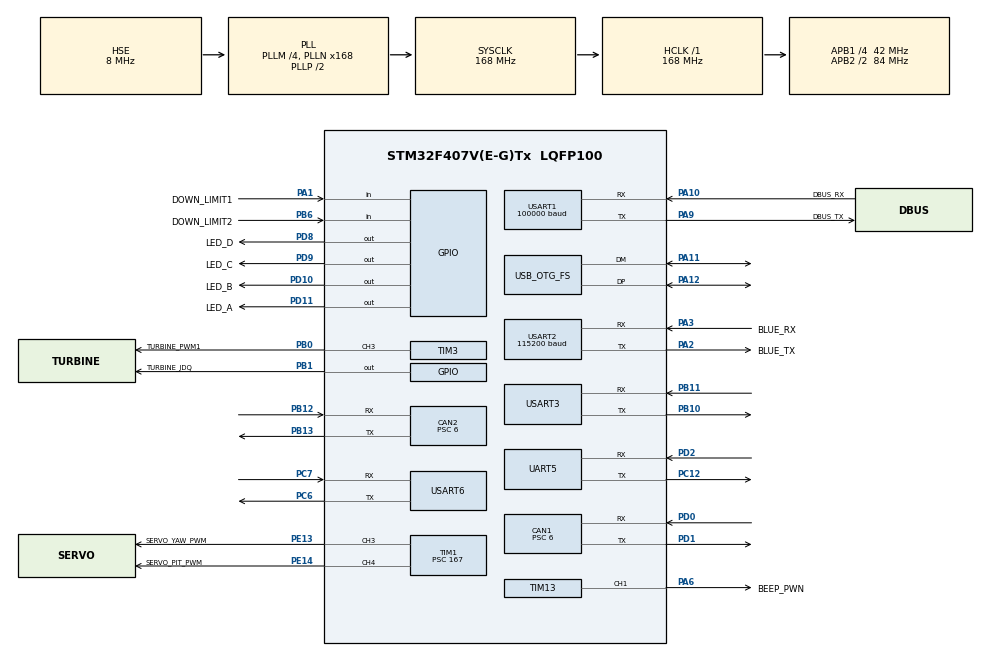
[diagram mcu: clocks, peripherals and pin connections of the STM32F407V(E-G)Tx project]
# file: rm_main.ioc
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CAN1.ABOM=ENABLE
CAN1.BS1=CAN_BS1_3TQ
CAN1.BS2=CAN_BS2_3TQ
CAN1.CalculateTimeQuantum=142.85714285714286
CAN1.Prescaler=6
CAN1.SJW=CAN_SJW_1TQ
CAN2.ABOM=ENABLE
CAN2.BS1=CAN_BS1_3TQ
CAN2.BS2=CAN_BS2_3TQ
CAN2.CalculateTimeQuantum=142.85714285714286
CAN2.Prescaler=6
Dma.Request0=USART1_RX
Dma.Request1=USART6_RX
Dma.Request2=USART2_RX
Dma.USART1_RX.0.Direction=DMA_PERIPH_TO_MEMORY
Dma.USART1_RX.0.FIFOMode=DMA_FIFOMODE_DISABLE
Dma.USART1_RX.0.Instance=DMA2_Stream2
Dma.USART1_RX.0.MemDataAlignment=DMA_MDATAALIGN_BYTE
Dma.USART1_RX.0.MemInc=DMA_MINC_ENABLE
Dma.USART1_RX.0.Mode=DMA_NORMAL
Dma.USART1_RX.0.PeriphDataAlignment=DMA_PDATAALIGN_BYTE
Dma.USART1_RX.0.PeriphInc=DMA_PINC_DISABLE
Dma.USART1_RX.0.Priority=DMA_PRIORITY_LOW
Dma.USART2_RX.2.Direction=DMA_PERIPH_TO_MEMORY
Dma.USART2_RX.2.FIFOMode=DMA_FIFOMODE_DISABLE
Dma.USART2_RX.2.Instance=DMA1_Stream5
Dma.USART2_RX.2.MemDataAlignment=DMA_MDATAALIGN_BYTE
Dma.USART2_RX.2.MemInc=DMA_MINC_ENABLE
Dma.USART2_RX.2.Mode=DMA_NORMAL
Dma.USART2_RX.2.PeriphDataAlignment=DMA_PDATAALIGN_BYTE
Dma.USART2_RX.2.PeriphInc=DMA_PINC_DISABLE
Dma.USART2_RX.2.Priority=DMA_PRIORITY_LOW
Dma.USART6_RX.1.Direction=DMA_PERIPH_TO_MEMORY
Dma.USART6_RX.1.FIFOMode=DMA_FIFOMODE_DISABLE
Dma.USART6_RX.1.Instance=DMA2_Stream1
Dma.USART6_RX.1.MemDataAlignment=DMA_MDATAALIGN_BYTE
Dma.USART6_RX.1.MemInc=DMA_MINC_ENABLE
Dma.USART6_RX.1.Mode=DMA_NORMAL
Dma.USART6_RX.1.PeriphDataAlignment=DMA_PDATAALIGN_BYTE
Dma.USART6_RX.1.PeriphInc=DMA_PINC_DISABLE
Dma.USART6_RX.1.Priority=DMA_PRIORITY_LOW
FREERTOS.INCLUDE_vTaskDelayUntil=1
FREERTOS.Tasks01=defaultTask,0,128,StartDefaultTask,Default,NULL
FREERTOS.configUSE_TIMERS=1
Mcu.Family=STM32F4
Mcu.Name=STM32F407V(E-G)Tx
Mcu.Package=LQFP100
NVIC.CAN1_RX0_IRQn=true\:5\:0\:false\:false\:true\:true\:true
NVIC.CAN1_TX_IRQn=true\:5\:0\:false\:false\:true\:true\:true
NVIC.CAN2_RX0_IRQn=true\:5\:0\:false\:false\:true\:true\:true
NVIC.CAN2_TX_IRQn=true\:5\:0\:false\:false\:true\:true\:true
NVIC.DMA1_Stream5_IRQn=true\:5\:0\:false\:false\:true\:true\:false
NVIC.DMA2_Stream1_IRQn=true\:5\:0\:false\:false\:true\:true\:false
NVIC.DMA2_Stream2_IRQn=true\:5\:0\:false\:false\:true\:true\:false
NVIC.OTG_FS_IRQn=true\:5\:0\:false\:false\:true\:true\:false
NVIC.PriorityGroup=NVIC_PRIORITYGROUP_4
NVIC.TIM1_UP_TIM10_IRQn=true\:0\:0\:false\:false\:true\:false\:false
NVIC.TimeBase=TIM1_UP_TIM10_IRQn
NVIC.TimeBaseIP=TIM10
NVIC.UART5_IRQn=true\:5\:0\:false\:false\:true\:true\:true
NVIC.USART1_IRQn=true\:5\:0\:false\:false\:true\:true\:true
NVIC.USART2_IRQn=true\:5\:0\:false\:false\:true\:true\:true
NVIC.USART6_IRQn=true\:5\:0\:false\:false\:true\:true\:true
PA1.GPIO_Label=DOWN_LIMIT1
PA1.Signal=GPIO_Input
PA10.GPIO_Label=DBUS_RX
PA10.Mode=Asynchronous
PA10.Signal=USART1_RX
PA11.Mode=Device_Only
PA11.Signal=USB_OTG_FS_DM
PA12.Mode=Device_Only
PA12.Signal=USB_OTG_FS_DP
PA13.Mode=Serial_Wire
PA13.Signal=SYS_JTMS-SWDIO
PA14.Mode=Serial_Wire
PA14.Signal=SYS_JTCK-SWCLK
PA2.GPIO_Label=BLUE_TX
PA2.Mode=Asynchronous
PA2.Signal=USART2_TX
PA3.GPIO_Label=BLUE_RX
PA3.Mode=Asynchronous
PA3.Signal=USART2_RX
PA6.GPIO_Label=BEEP_PWN
PA6.Signal=S_TIM13_CH1
PA9.GPIO_Label=DBUS_TX
PA9.Mode=Asynchronous
PA9.Signal=USART1_TX
PB0.GPIO_Label=TURBINE_PWM1
PB0.Signal=S_TIM3_CH3
PB1.GPIO_Label=TURBINE_JDQ
PB1.Signal=GPIO_Output
PB10.Mode=Asynchronous
PB10.Signal=USART3_TX
PB11.Mode=Asynchronous
PB11.Signal=USART3_RX
PB12.Mode=Slave
PB12.Signal=CAN2_RX
PB13.Mode=Slave
PB13.Signal=CAN2_TX
PB6.GPIO_Label=DOWN_LIMIT2
PB6.Signal=GPIO_Input
PC12.Mode=Asynchronous
PC12.Signal=UART5_TX
PC6.Mode=Asynchronous
PC6.Signal=USART6_TX
PC7.Mode=Asynchronous
PC7.Signal=USART6_RX
PD0.Mode=Master
PD0.Signal=CAN1_RX
PD1.Mode=Master
PD1.Signal=CAN1_TX
PD10.GPIO_Label=LED_B
PD10.PinState=GPIO_PIN_SET
PD10.Signal=GPIO_Output
PD11.GPIO_Label=LED_A
PD11.GPIO_Speed=GPIO_SPEED_FREQ_LOW
PD11.PinState=GPIO_PIN_SET
PD11.Signal=GPIO_Output
PD2.Mode=Asynchronous
PD2.Signal=UART5_RX
PD8.GPIO_Label=LED_D
PD8.PinState=GPIO_PIN_SET
PD8.Signal=GPIO_Output
PD9.GPIO_Label=LED_C
PD9.PinState=GPIO_PIN_SET
PD9.Signal=GPIO_Output
PE13.GPIO_Label=SERVO_YAW_PWM
PE13.Signal=S_TIM1_CH3
PE14.GPIO_Label=SERVO_PIT_PWM
PE14.Signal=S_TIM1_CH4
PH0-OSC_IN.Mode=HSE-External-Oscillator
PH0-OSC_IN.Signal=RCC_OSC_IN
PH1-OSC_OUT.Mode=HSE-External-Oscillator
PH1-OSC_OUT.Signal=RCC_OSC_OUT
ProjectManager.HeapSize=0x1000
ProjectManager.StackSize=0x600
ProjectManager.TargetToolchain=MDK-ARM V5
RCC.48MHZClocksFreq_Value=48000000
RCC.AHBFreq_Value=168000000
RCC.APB1CLKDivider=RCC_HCLK_DIV4
RCC.APB1Freq_Value=42000000
RCC.APB1TimFreq_Value=84000000
RCC.APB2CLKDivider=RCC_HCLK_DIV2
RCC.APB2Freq_Value=84000000
RCC.APB2TimFreq_Value=168000000
RCC.CortexFreq_Value=168000000
RCC.HCLKFreq_Value=168000000
RCC.HSE_VALUE=8000000
RCC.HSI_VALUE=16000000
RCC.LSE_VALUE=32768
RCC.PLLM=4
RCC.PLLN=168
RCC.PLLQ=7
RCC.SYSCLKFreq_VALUE=168000000
RCC.SYSCLKSource=RCC_SYSCLKSOURCE_PLLCLK
RCC.VCOOutputFreq_Value=336000000
SH.S_TIM13_CH1.0=TIM13_CH1,PWM Generation1 CH1
SH.S_TIM1_CH3.0=TIM1_CH3,PWM Generation3 CH3
SH.S_TIM1_CH4.0=TIM1_CH4,PWM Generation4 CH4
SH.S_TIM3_CH3.0=TIM3_CH3,PWM Generation3 CH3
TIM1.Channel-PWM\ Generation3\ CH3=TIM_CHANNEL_3
TIM1.Channel-PWM\ Generation4\ CH4=TIM_CHANNEL_4
TIM1.Period=19999
TIM1.Prescaler=167
TIM13.Channel=TIM_CHANNEL_1
TIM13.Period=83
TIM13.Prescaler=1999
TIM3.Channel-PWM\ Generation3\ CH3=TIM_CHANNEL_3
TIM3.Period=19999
TIM3.Prescaler=83
UART5.VirtualMode=Asynchronous
USART1.BaudRate=100000
USART1.VirtualMode=VM_ASYNC
USART2.BaudRate=115200
USART2.VirtualMode=VM_ASYNC
USART3.VirtualMode=VM_ASYNC
USART6.VirtualMode=VM_ASYNC
USB_DEVICE.APP_RX_DATA_SIZE-CDC_FS=18
USB_DEVICE.APP_TX_DATA_SIZE-CDC_FS=18
USB_DEVICE.CLASS_NAME_FS=CDC
USB_DEVICE.VirtualMode-CDC_FS=Cdc
USB_DEVICE.VirtualModeFS=Cdc_FS
USB_OTG_FS.VirtualMode=Device_Only
VP_FREERTOS_VS_ENABLE.Mode=Enabled
VP_SYS_VS_tim10.Mode=TIM10
VP_TIM13_VS_ClockSourceINT.Mode=Enable_Timer
VP_USB_DEVICE_VS_USB_DEVICE_CDC_FS.Mode=CDC_FS
board=custom

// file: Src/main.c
/**
  ******************************************************************************
  * @file           : main.c
  * @brief          : Main program body
  ******************************************************************************
  * This notice applies to any and all portions of this file
  * that are not between comment pairs USER CODE BEGIN and
  * USER CODE END. Other portions of this file, whether
  * inserted by the user or by software development tools
  * are owned by their respective copyright owners.
  *
  * Copyright (c) 2019 STMicroelectronics International N.V.
  * All rights reserved.
  *
  * Redistribution and use in source and binary forms, with or without
  * modification, are permitted, provided that the following conditions are met:
  *
  * 1. Redistribution of source code must retain the above copyright notice,
  *    this list of conditions and the following disclaimer.
  * 2. Redistributions in binary form must reproduce the above copyright notice,
  *    this list of conditions and the following disclaimer in the documentation
  *    and/or other materials provided with the distribution.
  * 3. Neither the name of STMicroelectronics nor the names of other
  *    contributors to this software may be used to endorse or promote products
  *    derived from this software without specific written permission.
  * 4. This software, including modifications and/or derivative works of this
  *    software, must execute solely and exclusively on microcontroller or
  *    microprocessor devices manufactured by or for STMicroelectronics.
  * 5. Redistribution and use of this software other than as permitted under
  *    this license is void and will automatically terminate your rights under
  *    this license.
  *
  * THIS SOFTWARE IS PROVIDED BY STMICROELECTRONICS AND CONTRIBUTORS "AS IS"
  * AND ANY EXPRESS, IMPLIED OR STATUTORY WARRANTIES, INCLUDING, BUT NOT
  * LIMITED TO, THE IMPLIED WARRANTIES OF MERCHANTABILITY, FITNESS FOR A
  * PARTICULAR PURPOSE AND NON-INFRINGEMENT OF THIRD PARTY INTELLECTUAL PROPERTY
  * RIGHTS ARE DISCLAIMED TO THE FULLEST EXTENT PERMITTED BY LAW. IN NO EVENT
  * SHALL STMICROELECTRONICS OR CONTRIBUTORS BE LIABLE FOR ANY DIRECT, INDIRECT,
  * INCIDENTAL, SPECIAL, EXEMPLARY, OR CONSEQUENTIAL DAMAGES (INCLUDING, BUT NOT
  * LIMITED TO, PROCUREMENT OF SUBSTITUTE GOODS OR SERVICES; LOSS OF USE, DATA,
  * OR PROFITS; OR BUSINESS INTERRUPTION) HOWEVER CAUSED AND ON ANY THEORY OF
  * LIABILITY, WHETHER IN CONTRACT, STRICT LIABILITY, OR TORT (INCLUDING
  * NEGLIGENCE OR OTHERWISE) ARISING IN ANY WAY OUT OF THE USE OF THIS SOFTWARE,
  * EVEN IF ADVISED OF THE POSSIBILITY OF SUCH DAMAGE.
  *
  ******************************************************************************
  */
#include "main.h"
#include "stm32f4xx_hal.h"
#include "cmsis_os.h"
#include "can.h"
#include "dma.h"
#include "tim.h"
#include "usart.h"
#include "usb_device.h"
#include "gpio.h"

/* USER CODE BEGIN Includes */
#include "bsp_can.h"
#include "bsp_uart.h"
#include "chassis_task.h"
#include "status_task.h"
#include "uplift_task.h"
#include "gimbal_task.h"
#include "SEGGER_SYSVIEW.h"
#include "bsp_pump.h"
#include "modeswitch_task.h"
#include "gimbal_task.h"
#include "judge_unpack_task.h"

/* USER CODE END Includes */

/* USER CODE BEGIN PV */
/* Private variables ---------------------------------------------------------*/

/* USER CODE END PV */

void SystemClock_Config(void);
void MX_FREERTOS_Init(void);

/* USER CODE BEGIN PFP */
/* Private function prototypes -----------------------------------------------*/

/* USER CODE END PFP */

int main(void)
{

  /* MCU Configuration----------------------------------------------------------*/

  /* Reset of all peripherals, Initializes the Flash interface and the Systick. */
  HAL_Init();

  /* Configure the system clock */
  SystemClock_Config();

  /* USER CODE BEGIN SysInit */
  HAL_GPIO_WritePin(GPIOD, LED_D_Pin|LED_C_Pin|LED_B_Pin, GPIO_PIN_RESET);
  /* USER CODE END SysInit */

  /* Initialize all configured peripherals */
  MX_GPIO_Init();
  MX_DMA_Init();
  MX_USART2_UART_Init();
  MX_USART1_UART_Init();
  MX_CAN1_Init();
  MX_USART6_UART_Init();
  MX_CAN2_Init();
  MX_TIM13_Init();
  MX_TIM3_Init();
  MX_UART5_Init();
  MX_USART3_UART_Init();
  MX_TIM1_Init();
  /* USER CODE BEGIN 2 */
	status_init();
	//电调初始化
	HAL_Delay(2000);
	HAL_TIM_PWM_Start(&htim3,TIM_CHANNEL_3);
	HAL_TIM_PWM_Start(&htim3,TIM_CHANNEL_4);
	HAL_TIM_PWM_Start(&htim1,TIM_CHANNEL_3);
	HAL_TIM_PWM_Start(&htim1,TIM_CHANNEL_4);

	can_device_init();
	chassis_init();
	uplift_init();
//	gimbal_param_init();
	uart_init();
	judge_unpack_task_Init();
	pump_init();
	bullet.loosetime = 30;
	bullet.dis_ref1 = 280.0f;
	bullet.dis_ref2 = 410.0f;
	climb.flag = 0;
	climb.climb_up_mode = CLIMB_UP_DONE;
	climb.climb_down_mode = CLIMB_DOWN_DONE;
	HAL_Delay(1000);
	SEGGER_SYSVIEW_Conf();
  status_init_success();
	//init success
  /* USER CODE END 2 */

  /* Call init function for freertos objects (in freertos.c) */
  MX_FREERTOS_Init();

  /* Start scheduler */
  osKernelStart();

  /* We should never get here as control is now taken by the scheduler */

  /* Infinite loop */
  while (1)
  {

  }

}

void SystemClock_Config(void)
{

  RCC_OscInitTypeDef RCC_OscInitStruct;
  RCC_ClkInitTypeDef RCC_ClkInitStruct;

    /**Configure the main internal regulator output voltage
    */
  __HAL_RCC_PWR_CLK_ENABLE();

  __HAL_PWR_VOLTAGESCALING_CONFIG(PWR_REGULATOR_VOLTAGE_SCALE1);

    /**Initializes the CPU, AHB and APB busses clocks
    */
  RCC_OscInitStruct.OscillatorType = RCC_OSCILLATORTYPE_HSE;
  RCC_OscInitStruct.HSEState = RCC_HSE_ON;
  RCC_OscInitStruct.PLL.PLLState = RCC_PLL_ON;
  RCC_OscInitStruct.PLL.PLLSource = RCC_PLLSOURCE_HSE;
  RCC_OscInitStruct.PLL.PLLM = 4;
  RCC_OscInitStruct.PLL.PLLN = 168;
  RCC_OscInitStruct.PLL.PLLP = RCC_PLLP_DIV2;
  RCC_OscInitStruct.PLL.PLLQ = 7;
  if (HAL_RCC_OscConfig(&RCC_OscInitStruct) != HAL_OK)
  {
    _Error_Handler(__FILE__, __LINE__);
  }

    /**Initializes the CPU, AHB and APB busses clocks
    */
  RCC_ClkInitStruct.ClockType = RCC_CLOCKTYPE_HCLK|RCC_CLOCKTYPE_SYSCLK
                              |RCC_CLOCKTYPE_PCLK1|RCC_CLOCKTYPE_PCLK2;
  RCC_ClkInitStruct.SYSCLKSource = RCC_SYSCLKSOURCE_PLLCLK;
  RCC_ClkInitStruct.AHBCLKDivider = RCC_SYSCLK_DIV1;
  RCC_ClkInitStruct.APB1CLKDivider = RCC_HCLK_DIV4;
  RCC_ClkInitStruct.APB2CLKDivider = RCC_HCLK_DIV2;

  if (HAL_RCC_ClockConfig(&RCC_ClkInitStruct, FLASH_LATENCY_5) != HAL_OK)
  {
    _Error_Handler(__FILE__, __LINE__);
  }

    /**Configure the Systick interrupt time
    */
  HAL_SYSTICK_Config(HAL_RCC_GetHCLKFreq()/1000);

    /**Configure the Systick
    */
  HAL_SYSTICK_CLKSourceConfig(SYSTICK_CLKSOURCE_HCLK);

  /* SysTick_IRQn interrupt configuration */
  HAL_NVIC_SetPriority(SysTick_IRQn, 15, 0);
}

void HAL_TIM_PeriodElapsedCallback(TIM_HandleTypeDef *htim)
{
  if (htim->Instance == TIM10) {
    HAL_IncTick();
  }
}

void _Error_Handler(char *file, int line)
{
  while(1)
  {
  }
}

/************************ (C) COPYRIGHT STMicroelectronics *****END OF FILE****/

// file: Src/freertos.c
/* USER CODE BEGIN Header */
/**
  ******************************************************************************
  * File Name          : freertos.c
  * Description        : Code for freertos applications
  ******************************************************************************
  * This notice applies to any and all portions of this file
  * that are not between comment pairs USER CODE BEGIN and
  * USER CODE END. Other portions of this file, whether
  * inserted by the user or by software development tools
  * are owned by their respective copyright owners.
  *
  * Copyright (c) 2019 STMicroelectronics International N.V.
  * All rights reserved.
  *
  * Redistribution and use in source and binary forms, with or without
  * modification, are permitted, provided that the following conditions are met:
  *
  * 1. Redistribution of source code must retain the above copyright notice,
  *    this list of conditions and the following disclaimer.
  * 2. Redistributions in binary form must reproduce the above copyright notice,
  *    this list of conditions and the following disclaimer in the documentation
  *    and/or other materials provided with the distribution.
  * 3. Neither the name of STMicroelectronics nor the names of other
  *    contributors to this software may be used to endorse or promote products
  *    derived from this software without specific written permission.
  * 4. This software, including modifications and/or derivative works of this
  *    software, must execute solely and exclusively on microcontroller or
  *    microprocessor devices manufactured by or for STMicroelectronics.
  * 5. Redistribution and use of this software other than as permitted under
  *    this license is void and will automatically terminate your rights under
  *    this license.
  *
  * THIS SOFTWARE IS PROVIDED BY STMICROELECTRONICS AND CONTRIBUTORS "AS IS"
  * AND ANY EXPRESS, IMPLIED OR STATUTORY WARRANTIES, INCLUDING, BUT NOT
  * LIMITED TO, THE IMPLIED WARRANTIES OF MERCHANTABILITY, FITNESS FOR A
  * PARTICULAR PURPOSE AND NON-INFRINGEMENT OF THIRD PARTY INTELLECTUAL PROPERTY
  * RIGHTS ARE DISCLAIMED TO THE FULLEST EXTENT PERMITTED BY LAW. IN NO EVENT
  * SHALL STMICROELECTRONICS OR CONTRIBUTORS BE LIABLE FOR ANY DIRECT, INDIRECT,
  * INCIDENTAL, SPECIAL, EXEMPLARY, OR CONSEQUENTIAL DAMAGES (INCLUDING, BUT NOT
  * LIMITED TO, PROCUREMENT OF SUBSTITUTE GOODS OR SERVICES; LOSS OF USE, DATA,
  * OR PROFITS; OR BUSINESS INTERRUPTION) HOWEVER CAUSED AND ON ANY THEORY OF
  * LIABILITY, WHETHER IN CONTRACT, STRICT LIABILITY, OR TORT (INCLUDING
  * NEGLIGENCE OR OTHERWISE) ARISING IN ANY WAY OUT OF THE USE OF THIS SOFTWARE,
  * EVEN IF ADVISED OF THE POSSIBILITY OF SUCH DAMAGE.
  *
  ******************************************************************************
  */
/* USER CODE END Header */

#include "FreeRTOS.h"
#include "task.h"
#include "main.h"
#include "cmsis_os.h"

/* USER CODE BEGIN Includes */
#include "stm32f4xx_hal.h"
#include "comm_task.h"
#include "chassis_task.h"
#include "modeswitch_task.h"
#include "debug_task.h"
#include "status_task.h"
#include "gimbal_task.h"
#include "uplift_task.h"
#include "relay_task.h"
#include "judge_unpack_task.h"
#include "judge_send_task.h"
/* USER CODE END Includes */

/* USER CODE BEGIN Variables */
osThreadId can_msg_send_task_t;
osThreadId gimbal_task_t;
osThreadId mode_sw_task_t;
osThreadId debug_task_t;
osThreadId status_task_t;
osThreadId relay_task_t;

osTimerId chassis_timer_id;
osTimerId uplift_timer_id;

TaskHandle_t judge_unpack_task_t;
osTimerId judge_sendTimer_id;
/* USER CODE END Variables */
osThreadId defaultTaskHandle;

void StartDefaultTask(void const * argument);

extern void MX_USB_DEVICE_Init(void);
void MX_FREERTOS_Init(void); /* (MISRA C 2004 rule 8.1) */

void MX_FREERTOS_Init(void) {

  /* USER CODE BEGIN RTOS_TIMERS */
  /* start timers, add new ones, ... */
	taskENTER_CRITICAL();

   osTimerDef(chassisTimer, chassis_task);
  chassis_timer_id = osTimerCreate(osTimer(chassisTimer), osTimerPeriodic, NULL);

   osTimerDef(upliftTimer, uplift_task);
  uplift_timer_id = osTimerCreate(osTimer(upliftTimer), osTimerPeriodic, NULL);

		osTimerDef(judge_sendTimer, judge_send_task);
  judge_sendTimer_id = osTimerCreate(osTimer(judge_sendTimer), osTimerPeriodic, NULL);

		osThreadDef(unpackTask, judge_unpack_task,osPriorityLow, 0, 512);
  judge_unpack_task_t = osThreadCreate(osThread(unpackTask), NULL);

  /* USER CODE END RTOS_TIMERS */

  /* Create the thread(s) */
  /* definition and creation of defaultTask */
  osThreadDef(defaultTask, StartDefaultTask, osPriorityNormal, 0, 128);
  defaultTaskHandle = osThreadCreate(osThread(defaultTask), NULL);

  /* USER CODE BEGIN RTOS_THREADS */
  /* add threads, ... */
			 /* high priority task */

	 osThreadDef(canTask, can_msg_send_task, osPriorityAboveNormal, 0, 512);
  can_msg_send_task_t = osThreadCreate(osThread(canTask), NULL);

//	 osThreadDef(climbTask, climb_task, osPriorityAboveNormal, 0, 512);
//  climb_task_t = osThreadCreate(osThread(climbTask), NULL);

	 osThreadDef(relayTask, relay_task, osPriorityNormal, 0, 128);
  relay_task_t = osThreadCreate(osThread(relayTask), NULL);

	 osThreadDef(gimbal_Task, gimbal_task, osPriorityAboveNormal, 0, 512);
  gimbal_task_t = osThreadCreate(osThread(gimbal_Task), NULL);
	 	 /* low priority task */

	 osThreadDef(modeTask, mode_switch_task, osPriorityNormal, 0, 512);
	mode_sw_task_t = osThreadCreate(osThread(modeTask), NULL);

//	 osThreadDef(debugTask, debug_task, osPriorityLow, 0, 256);
//	debug_task_t = osThreadCreate(osThread(debugTask), NULL);

	 osThreadDef(statusTask, status_task, osPriorityLow, 0, 512);
	status_task_t = osThreadCreate(osThread(statusTask), NULL);

	 		taskEXIT_CRITICAL();
  /* USER CODE END RTOS_THREADS */

}

void StartDefaultTask(void const * argument)
{
  /* init code for USB_DEVICE */
  MX_USB_DEVICE_Init();

  /* USER CODE BEGIN StartDefaultTask */
  /* Infinite loop */
  for(;;)
  {
    osDelay(100);
  }
  /* USER CODE END StartDefaultTask */
}

/************************ (C) COPYRIGHT STMicroelectronics *****END OF FILE****/
